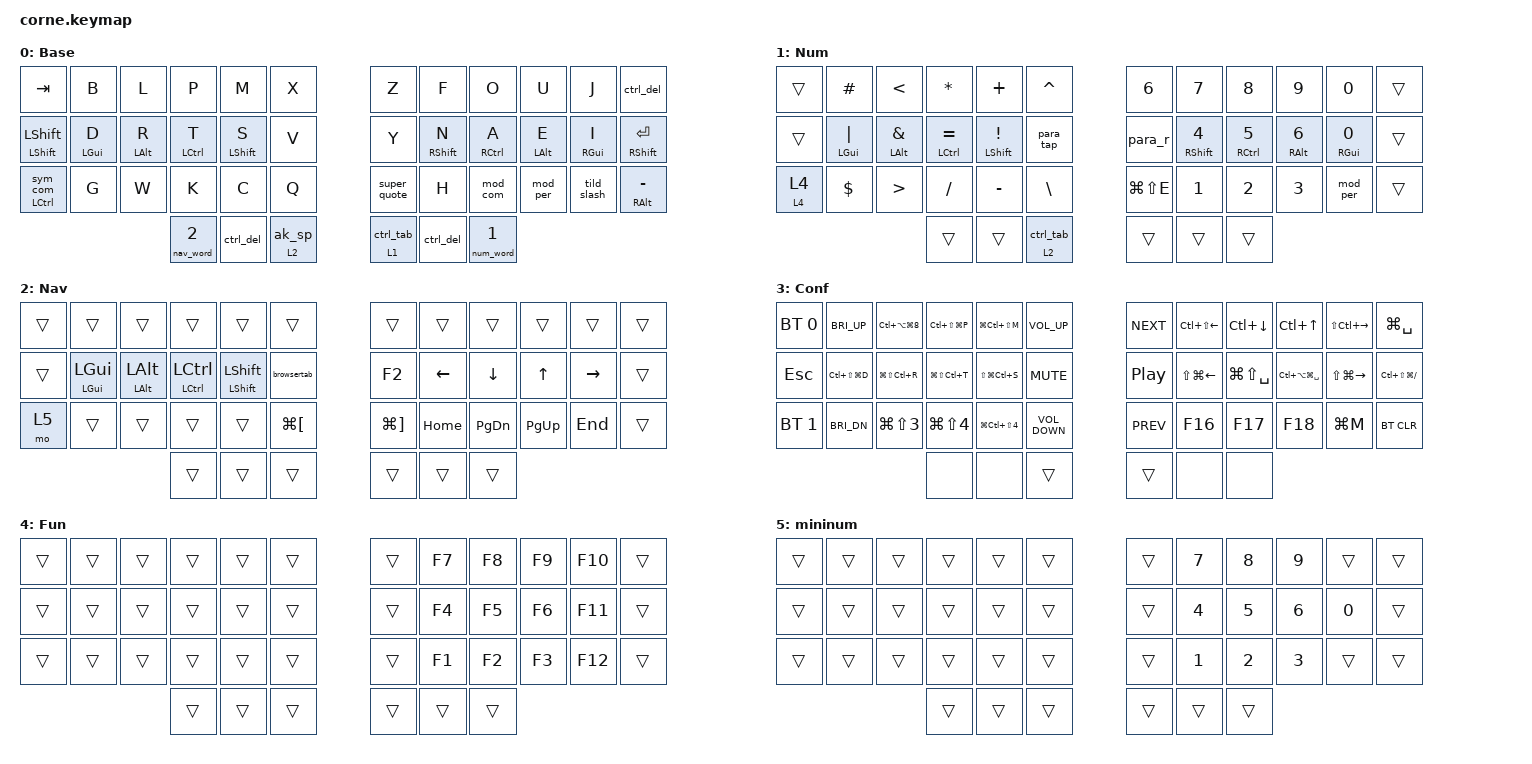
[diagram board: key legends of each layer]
#include <behaviors/num_word.dtsi>
#include <behaviors.dtsi>
#include <dt-bindings/zmk/bt.h>
#include <dt-bindings/zmk/keys.h>

#define DEF 0
#define NAV 1
#define SYM 2
#define ADJ 3
#define EXTRA 4

&sk { release-after-ms = <1500>; };

&mt {
    flavor = "tap-preferred";
    tapping-term-ms = <200>;
    quick-tap-ms = <150>;
    require-prior-idle-ms = <80>;
};

/ {
    behaviors {
        ctrl_tab: ctrl_tab {
            compatible = "zmk,behavior-mod-morph";
            label = "CTRL_TAB";
            bindings = <&space_mod>, <&kp TAB>;

            #binding-cells = <0>;
            mods = <(MOD_LALT|MOD_RALT)>;
        };

        ctrl_del: ctrl_del {
            compatible = "zmk,behavior-mod-morph";
            label = "CTRL_DEL";
            bindings = <&kp BACKSPACE>, <&kp DEL>;

            #binding-cells = <0>;
            mods = <(MOD_LCTL|MOD_RCTL)>;
        };

        mod_com: mod_com {
            compatible = "zmk,behavior-mod-morph";
            label = "MOD_COM";
            bindings = <&kp COMMA>, <&kp SEMICOLON>;

            #binding-cells = <0>;
            mods = <(MOD_LSFT|MOD_RSFT)>;
        };

        mod_per: mod_per {
            compatible = "zmk,behavior-mod-morph";
            label = "MOD_PER";
            bindings = <&per_morph>, <&kp COLON>;

            #binding-cells = <0>;
            mods = <(MOD_LSFT|MOD_RSFT)>;
        };

        sk_mod: sk_mod {
            compatible = "zmk,behavior-hold-tap";
            label = "SK_MOD";
            bindings = <&kp>, <&sk>;

            #binding-cells = <2>;
            tapping-term-ms = <140>;
            flavor = "hold-preferred";
        };

        layer_tap: layer_tap {
            compatible = "zmk,behavior-hold-tap";
            label = "LAYER_TAP";
            bindings = <&mo>, <&sl>;

            #binding-cells = <2>;
            tapping-term-ms = <150>;
            flavor = "balanced";
        };

        para_l: para_l {
            compatible = "zmk,behavior-mod-morph";
            label = "PARA_L";
            bindings = <&shift_para>, <&kp LEFT_BRACKET>;

            #binding-cells = <0>;
            mods = <(MOD_LCTL)>;
        };

        para_r: para_r {
            compatible = "zmk,behavior-mod-morph";
            label = "PARA_R";
            bindings = <&shift_para_r>, <&kp RIGHT_BRACKET>;

            #binding-cells = <0>;
            mods = <(MOD_LCTL)>;
        };

        para_tap: para_tap {
            compatible = "zmk,behavior-tap-dance";
            label = "PARA_TAP";
            #binding-cells = <0>;
            bindings = <&para_l>, <&para_r>;

            tapping-term-ms = <180>;
        };

        shift_para: shift_para {
            compatible = "zmk,behavior-mod-morph";
            label = "SHIFT_PARA";
            bindings = <&kp LEFT_PARENTHESIS>, <&kp LEFT_BRACE>;

            #binding-cells = <0>;
            mods = <(MOD_LSFT)>;
        };

        shift_para_r: shift_para_r {
            compatible = "zmk,behavior-mod-morph";
            label = "SHIFT_PARA_R";
            bindings = <&kp RIGHT_PARENTHESIS>, <&kp RIGHT_BRACE>;

            #binding-cells = <0>;
            mods = <(MOD_LSFT)>;
        };

        space_mod: space_mod {
            compatible = "zmk,behavior-mod-morph";
            label = "SPACE_MOD";
            bindings = <&kp SPACE>, <&kp MINUS>;

            #binding-cells = <0>;
            mods = <(MOD_LCTL|MOD_RCTL)>;
        };

        squot_h1: squot_h1 {
            compatible = "zmk,behavior-mod-morph";
            label = "SQUOT_H1";
            bindings = <&kp SQT>, <&kp GRAVE>;

            #binding-cells = <0>;
            mods = <(MOD_LCTL|MOD_RCTL)>;
        };

        super_quote: super_quote {
            compatible = "zmk,behavior-mod-morph";
            label = "SUPER_QUOTE";
            bindings = <&squot_h1>, <&kp RA(E)>;

            #binding-cells = <0>;
            mods = <(MOD_LALT|MOD_RALT)>;
        };

        tild_slash: tild_slash {
            compatible = "zmk,behavior-mod-morph";
            label = "TILD_SLASH";
            bindings = <&kp SLASH>, <&kp TILDE>;

            #binding-cells = <0>;
            mods = <(MOD_LCTL|MOD_RCTL)>;
        };

        adv_lt_sp: adv_lt_sp {
            compatible = "zmk,behavior-hold-tap";
            label = "ADV_LT_SP";
            #binding-cells = <2>;
            tapping-term-ms = <175>;
            quick_tap_ms = <0>;
            flavor = "tap-preferred";
            bindings = <&mo>, <&ctrl_tab>;

            quick-tap-ms = <100>;
            require-prior-idle-ms = <75>;
        };

        ak_sp: ak_sp {
            compatible = "zmk,behavior-adaptive-key";
            #binding-cells = <0>;
            bindings = <&kp ESCAPE>;

            akt_sqt {
                trigger-keys = <Y U E I N>;
                max-prior-idle-ms = <300>;
                bindings = <&kp SQT>;
            };

            akt_arr {
                trigger-keys = <EQUAL>;
                max-prior-idle-ms = <300>;
                bindings = <&kp LESS_THAN>;
            };

            akt_doll {
                trigger-keys = <DOLLAR>;
                max-prior-idle-ms = <300>;
                bindings = <&kp LEFT_BRACKET>;
            };

            akt_spc {
                trigger-keys = <SPC ENTER>;
                max-prior-idle-ms = <300>;
                bindings = <&sk LEFT_SHIFT>;
            };
        };

        adv_lt_ak: adv_lt_ak {
            compatible = "zmk,behavior-hold-tap";
            label = "ADV_LT_AK";
            #binding-cells = <2>;
            tapping-term-ms = <175>;
            quick_tap_ms = <0>;
            flavor = "tap-preferred";
            bindings = <&mo>, <&ak_sp>;

            quick-tap-ms = <100>;
            require-prior-idle-ms = <75>;
        };

        nav_word: nav_word {
            compatible = "zmk,behavior-auto-layer";
            #binding-cells = <1>;
            continue-list = <LEFT DOWN UP RIGHT PG_DN PG_UP HOME END>;
            ignore-modifiers;
        };

        hmr: hmr {
            compatible = "zmk,behavior-hold-tap";
            label = "HMR";
            bindings = <&kp>, <&kp>;

            #binding-cells = <2>;
            tapping-term-ms = <280>;
            quick-tap-ms = <175>;
            require-prior-idle-ms = <150>;
            flavor = "balanced";
            hold-trigger-key-positions = <0 1 2 3 4 5 12 13 14 15 16 17 24 25 26 27 28 29 0 1 2 3 4 5 12 13 14 15 16 17 24 25 26 27 28 29 36 37 38 39 40 41>;
            hold-trigger-on-release;
        };

        hml: hml {
            compatible = "zmk,behavior-hold-tap";
            label = "HML";
            bindings = <&kp>, <&kp>;

            #binding-cells = <2>;
            tapping-term-ms = <280>;
            quick-tap-ms = <175>;
            require-prior-idle-ms = <150>;
            flavor = "balanced";
            hold-trigger-on-release;
            hold-trigger-key-positions = <6 7 8 9 10 11 18 19 20 21 22 23 30 31 32 33 34 35 36 37 38 39 40 41>;
        };

        per_morph: per_morph {
            compatible = "zmk,behavior-mod-morph";
            label = "PER_MORPH";
            bindings = <&kp PERIOD>, <&kp EXCLAMATION>;

            #binding-cells = <0>;
            mods = <(MOD_LCTL|MOD_RCTL)>;
        };

        dol_htag: dol_htag {
            compatible = "zmk,behavior-mod-morph";
            label = "DOL_HTAG";
            bindings = <&kp HASH>, <&kp DOLLAR>;

            #binding-cells = <0>;
            mods = <(MOD_LSFT|MOD_RSFT)>;
        };

        sym_com: sym_com {
            compatible = "zmk,behavior-mod-morph";
            label = "SYM_COM";
            bindings = <&dol_htag>, <&kp PERCENT>;

            #binding-cells = <0>;
            mods = <(MOD_LCTL|MOD_RCTL)>;
        };

        sym_ctrl: sym_ctrl {
            compatible = "zmk,behavior-hold-tap";
            label = "SYM_CTRL";
            bindings = <&kp>, <&sym_com>;

            #binding-cells = <2>;
            tapping-term-ms = <200>;
            quick-tap-ms = <150>;
            require-prior-idle-ms = <80>;
            flavor = "tap-preferred";
        };

        m_bs: m_bs {
            compatible = "zmk,behavior-mod-morph";
            label = "M_BS";
            bindings = <&ak_sp>, <&ctrl_del>;

            #binding-cells = <0>;
            mods = <(MOD_LSFT|MOD_RSFT)>;
        };
    };

    macros {
        browsertab: browsertab {
            compatible = "zmk,behavior-macro";
            #binding-cells = <0>;
            bindings =
                <&macro_press>,
                <&kp LCTRL>,
                <&macro_tap>,
                <&kp TAB>,
                <&macro_release>,
                <&kp LCTRL>;
        };
    };

    combos {
        compatible = "zmk,combos";

        uml {
            bindings = <&kp RA(U)>;
            key-positions = <8 20>;
        };

        swehelp {
            bindings = <&kp RA(A)>;
            key-positions = <20 21>;
        };

        c_word {
            bindings = <&caps_word>;
            key-positions = <12 23>;
        };
    };

    keymap {
        compatible = "zmk,keymap";

        DEF {
            display-name = "Base";

            // -----------------------------------------------------------------------------------------
            // |  Q  |  W  |  E  |  R  |  T  |   |  Y  |  U   |  I  |  O  |  P  |
            // |  A  |  S  |  D  |  F  |  G  |   |  H  |  J   |  K  |  L  |  ;  |
            // |  Z  |  X  |  C  |  V  |  B  |   |  N  |  M   |  ,  |  .  |  /  |
            // | GUI | CTRL | SHFT | LWR | SPC |   | ENT | RSE  | BKSP | ALT | ESC |

            bindings = <
&kp TAB                        &kp B            &kp L            &kp P         &kp M              &kp X             &kp Z           &kp F               &kp O         &kp U            &kp J             &ctrl_del
&sk_mod LEFT_SHIFT LEFT_SHIFT  &hml LEFT_GUI D  &hml LEFT_ALT R  &hml LCTRL T  &hml LEFT_SHIFT S  &kp V             &kp Y           &hmr RIGHT_SHIFT N  &hmr RCTRL A  &hmr LEFT_ALT E  &hmr RIGHT_GUI I  &mt RIGHT_SHIFT ENTER
&sym_ctrl LCTRL 0              &kp G            &kp W            &kp K         &kp C              &kp Q             &super_quote    &kp H               &mod_com      &mod_per         &tild_slash       &mt RIGHT_ALT MINUS
                                                                 &nav_word 2   &ctrl_del          &adv_lt_ak 2 0    &adv_lt_sp 1 0  &ctrl_del           &num_word 1
            >;
        };

        NUM {
            display-name = "Num";

            // -----------------------------------------------------------------------------------------
            // |  TAB |  1  |  2  |  3  |  4  |  5  |   |  6  |  7  |  8  |  9  |  0  | BKSP |
            // | BTCLR| BT1 | BT2 | BT3 | BT4 | BT5 |   | LFT | DWN |  UP | RGT |     |      |
            // | SHFT |     |     |     |     |     |   |     |     |     |     |     |      |
            // | GUI | CTRL | SHFT | LWR | SPC |   | ENT | RSE  | BKSP | ALT | ESC |

            bindings = <
&trans          &kp HASH            &kp LESS_THAN            &kp ASTERISK      &kp PLUS                     &kp CARET         &kp NUMBER_6   &kp N7                     &kp N8         &kp N9                   &kp N0             &trans
&trans          &hml LEFT_GUI PIPE  &hml LEFT_ALT AMPERSAND  &hml LCTRL EQUAL  &hml LEFT_SHIFT EXCLAMATION  &para_tap         &para_r        &hmr RIGHT_SHIFT NUMBER_4  &hmr RCTRL N5  &hmr RIGHT_ALT NUMBER_6  &hmr RIGHT_GUI N0  &trans
&layer_tap 4 4  &kp DOLLAR          &kp GREATER_THAN         &kp SLASH         &kp MINUS                    &kp BACKSLASH     &kp LG(LS(E))  &kp NUMBER_1               &kp NUMBER_2   &kp NUMBER_3             &mod_per           &trans
                                                             &trans            &trans                       &adv_lt_sp 2 0    &trans         &trans                     &trans
            >;
        };

        NAV {
            display-name = "Nav";
            bindings = <
&trans  &trans                     &trans                     &trans               &trans                         &trans                  &trans                 &trans    &trans          &trans        &trans     &trans
&trans  &sk_mod LEFT_GUI LEFT_GUI  &sk_mod LEFT_ALT LEFT_ALT  &sk_mod LCTRL LCTRL  &sk_mod LEFT_SHIFT LEFT_SHIFT  &browsertab             &kp F2                 &kp LEFT  &kp DOWN_ARROW  &kp UP_ARROW  &kp RIGHT  &trans
&mo 5   &trans                     &trans                     &trans               &trans                         &kp LG(LEFT_BRACKET)    &kp LG(RIGHT_BRACKET)  &kp HOME  &kp PAGE_DOWN   &kp PAGE_UP   &kp END    &trans
                                                              &trans               &trans                         &trans                  &trans                 &trans    &trans
            >;
        };

        Configure {
            bindings = <
&bt BT_SEL 0  &kp C_BRI_UP       &kp LC(LA(LG(N8)))    &kp LC(LS(LG(P)))     &kp LG(LC(LS(M)))         &kp C_VOLUME_UP      &kp C_NEXT  &kp LC(LS(LEFT))  &kp LC(DOWN)       &kp LC(UP_ARROW)       &kp LS(LC(RIGHT))  &kp LG(SPACE)
&kp ESCAPE    &kp LC(LS(LG(D)))  &kp LG(LS(LC(R)))     &kp LG(LS(LC(T)))     &kp LS(LG(LC(S)))         &kp K_MUTE           &kp C_PP    &kp LS(LG(LEFT))  &kp LG(LS(SPACE))  &kp LC(LA(LG(SPACE)))  &kp LS(LG(RIGHT))  &kp LC(LS(LG(SLASH)))
&bt BT_SEL 1  &kp C_BRI_DN       &kp LG(LS(NUMBER_3))  &kp LG(LS(NUMBER_4))  &kp LG(LC(LS(NUMBER_4)))  &kp C_VOLUME_DOWN    &kp C_PREV  &kp F16           &kp F17            &kp F18                &kp LG(M)          &bt BT_CLR
                                                       &none                 &none                     &trans               &trans      &none             &none
            >;

            label = "Conf";
        };

        Fun {
            bindings = <
&trans  &trans  &trans  &trans  &trans  &trans    &trans  &kp F7  &kp F8  &kp F9  &kp F10  &trans
&trans  &trans  &trans  &trans  &trans  &trans    &trans  &kp F4  &kp F5  &kp F6  &kp F11  &trans
&trans  &trans  &trans  &trans  &trans  &trans    &trans  &kp F1  &kp F2  &kp F3  &kp F12  &trans
                        &trans  &trans  &trans    &trans  &trans  &trans
            >;

            label = "Fun";
        };

        MiniNum {
            bindings = <
&trans  &trans  &trans  &trans  &trans  &trans    &trans  &kp N7  &kp N8  &kp N9  &trans  &trans
&trans  &trans  &trans  &trans  &trans  &trans    &trans  &kp N4  &kp N5  &kp N6  &kp N0  &trans
&trans  &trans  &trans  &trans  &trans  &trans    &trans  &kp N1  &kp N2  &kp N3  &trans  &trans
                        &trans  &trans  &trans    &trans  &trans  &trans
            >;

            label = "mininum";
        };
    };

    conditional_layers {
        compatible = "zmk,conditional-layers";

        conf {
            if-layers = <1 2>;
            then-layer = <3>;
        };
    };
};
